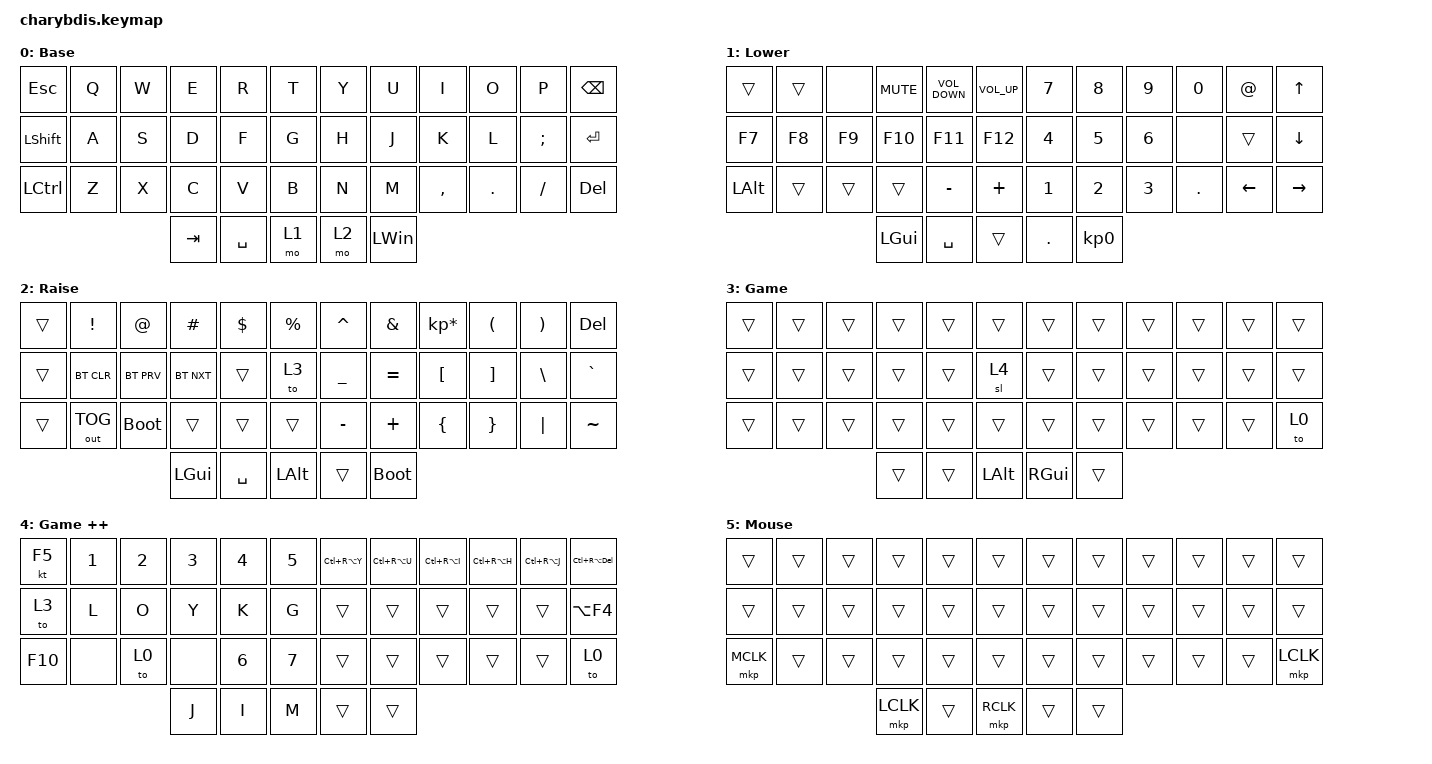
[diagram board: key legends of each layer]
#include <behaviors/mouse_keys.dtsi>
#include <behaviors.dtsi>
#include <dt-bindings/zmk/bt.h>
#include <dt-bindings/zmk/keys.h>
#include <dt-bindings/zmk/keys.h>
#include <dt-bindings/zmk/mouse.h>
#include <dt-bindings/zmk/outputs.h>

&lt {
    tapping-term-ms = <240>;
    flavor = "balanced";
    quick-tap-ms = <150>;
};

/ {
    keymap {
        compatible = "zmk,keymap";

        Base {
            label = "Base";
            bindings = <
&kp ESC         &kp Q  &kp W  &kp E    &kp R      &kp T    &kp Y  &kp U         &kp I      &kp O    &kp P     &kp BSPC
&kp LEFT_SHIFT  &kp A  &kp S  &kp D    &kp F      &kp G    &kp H  &kp J         &kp K      &kp L    &kp SEMI  &kp ENTER
&kp LCTRL       &kp Z  &kp X  &kp C    &kp V      &kp B    &kp N  &kp M         &kp COMMA  &kp DOT  &kp FSLH  &kp DELETE
                              &kp TAB  &kp SPACE  &mo 1    &mo 2  &kp LEFT_WIN
            >;
        };

        Lower {
            label = "Lower";
            bindings = <
&trans        &trans  &none   &kp K_MUTE  &kp C_VOLUME_DOWN  &kp C_VOLUME_UP    &kp N7      &kp N8           &kp N9  &kp N0   &kp AT_SIGN  &kp UP
&kp F7        &kp F8  &kp F9  &kp F10     &kp F11            &kp F12            &kp N4      &kp N5           &kp N6  &none    &trans       &kp DOWN
&kp LEFT_ALT  &trans  &trans  &trans      &kp MINUS          &kp PLUS           &kp N1      &kp N2           &kp N3  &kp DOT  &kp LEFT     &kp RIGHT
                              &kp LGUI    &kp SPACE          &trans             &kp PERIOD  &kp KP_NUMBER_0
            >;
        };

        Raise {
            label = "Raise";
            bindings = <
&trans  &kp EXCL      &kp AT       &kp HASH    &kp DLLR   &kp PRCNT       &kp CARET  &kp AMPS     &kp KP_MULTIPLY  &kp LPAR  &kp RPAR  &kp DEL
&trans  &bt BT_CLR    &bt BT_PRV   &bt BT_NXT  &trans     &to 3           &kp UNDER  &kp EQUAL    &kp LBKT         &kp RBKT  &kp BSLH  &kp GRAVE
&trans  &out OUT_TOG  &bootloader  &trans      &trans     &trans          &kp MINUS  &kp PLUS     &kp LBRC         &kp RBRC  &kp PIPE  &kp TILDE
                                   &kp LGUI    &kp SPACE  &kp LEFT_ALT    &trans     &bootloader
            >;
        };

        Game {
            label = "Game";
            bindings = <
&trans  &trans  &trans  &trans  &trans  &trans          &trans    &trans  &trans  &trans  &trans  &trans
&trans  &trans  &trans  &trans  &trans  &sl 4           &trans    &trans  &trans  &trans  &trans  &trans
&trans  &trans  &trans  &trans  &trans  &trans          &trans    &trans  &trans  &trans  &trans  &to 0
                        &trans  &trans  &kp LEFT_ALT    &kp RGUI  &trans
            >;
        };

        Game_++ {
            label = "Game ++";
            bindings = <
&kt F5   &kp NUMBER_1  &kp NUMBER_2  &kp NUMBER_3  &kp NUMBER_4  &kp NUMBER_5    &kp LC(RA(Y))  &kp LC(RA(U))  &kp LC(RA(I))  &kp LC(RA(H))  &kp LC(RA(J))  &kp LC(RA(DEL))
&to 3    &kp L         &kp O         &kp Y         &kp K         &kp G           &trans         &trans         &trans         &trans         &trans         &kp LA(F4)
&kp F10  &none         &to 0         &none         &kp NUMBER_6  &kp NUMBER_7    &trans         &trans         &trans         &trans         &trans         &to 0
                                     &kp J         &kp I         &kp M           &trans         &trans
            >;
        };

        Mouse {
            bindings = <
&trans     &trans  &trans  &trans     &trans  &trans       &trans  &trans  &trans  &trans  &trans  &trans
&trans     &trans  &trans  &trans     &trans  &trans       &trans  &trans  &trans  &trans  &trans  &trans
&mkp MCLK  &trans  &trans  &trans     &trans  &trans       &trans  &trans  &trans  &trans  &trans  &mkp LCLK
                           &mkp LCLK  &trans  &mkp RCLK    &trans  &trans
            >;
        };
    };
};
